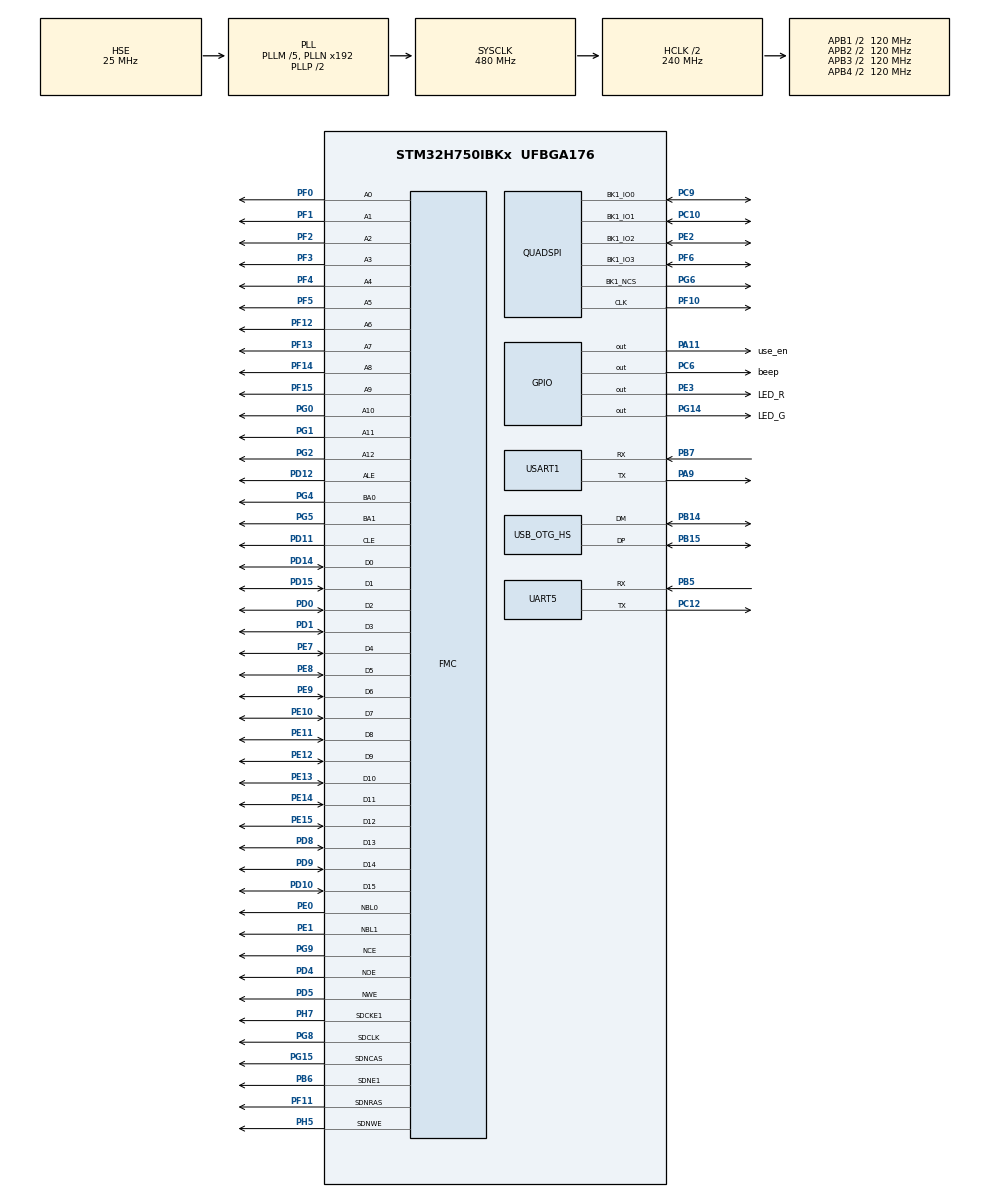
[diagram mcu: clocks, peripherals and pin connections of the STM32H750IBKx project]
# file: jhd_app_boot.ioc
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FMC.AttributeSpaceHiZSetupTime1=5
FMC.AttributeSpaceHoldSetupTime1=2
FMC.AttributeSpaceSetupTime1=2
FMC.AttributeSpaceWaitSetupTime1=6
FMC.CASLatency1=FMC_SDRAM_CAS_LATENCY_3
FMC.ColumnBitsNumber1=FMC_SDRAM_COLUMN_BITS_NUM_9
FMC.CommonSpaceHiZSetupTime1=5
FMC.CommonSpaceHoldSetupTime1=2
FMC.CommonSpaceSetupTime1=2
FMC.CommonSpaceWaitSetupTime1=6
FMC.ECCPageSize1=FMC_NAND_ECC_PAGE_SIZE_512BYTE
FMC.ExitSelfRefreshDelay1=9
FMC.LoadToActiveDelay1=2
FMC.NandBlockNbr1=64
FMC.NandBlockSize1=64
FMC.NandPageSize1=2048
FMC.NandPlaneNbr1=2
FMC.NandPlaneSize1=1024
FMC.NandSpareAreaSize1=64
FMC.RCDDelay1=6
FMC.RPDelay1=3
FMC.RPDelay2=3
FMC.ReadBurst1=FMC_SDRAM_RBURST_ENABLE
FMC.ReadBurst2=FMC_SDRAM_RBURST_ENABLE
FMC.ReadPipeDelay1=FMC_SDRAM_RPIPE_DELAY_1
FMC.ReadPipeDelay2=FMC_SDRAM_RPIPE_DELAY_1
FMC.RowCycleDelay1=6
FMC.RowCycleDelay2=6
FMC.SDClockPeriod1=FMC_SDRAM_CLOCK_PERIOD_2
FMC.SDClockPeriod2=FMC_SDRAM_CLOCK_PERIOD_2
FMC.SelfRefreshTime1=6
FMC.TCLRSetupTime1=3
FMC.WriteRecoveryTime1=3
Mcu.Family=STM32H7
Mcu.Name=STM32H750IBKx
Mcu.Package=UFBGA176
NVIC.OTG_HS_IRQn=true\:5\:0\:true\:false\:true\:false\:true
NVIC.PriorityGroup=NVIC_PRIORITYGROUP_4
PA11.GPIO_Label=use_en
PA11.Signal=GPIO_Output
PA9.Mode=Asynchronous
PA9.Signal=USART1_TX
PB14.GPIO_Speed=GPIO_SPEED_FREQ_HIGH
PB14.Mode=Host_FS
PB14.Signal=USB_OTG_HS_DM
PB15.GPIO_Speed=GPIO_SPEED_FREQ_HIGH
PB15.Mode=Host_FS
PB15.Signal=USB_OTG_HS_DP
PB5.Mode=Asynchronous
PB5.Signal=UART5_RX
PB6.Mode=SdramChipSelect2_1
PB6.Signal=FMC_SDNE1
PB7.Mode=Asynchronous
PB7.Signal=USART1_RX
PC10.Mode=Single Bank 1
PC10.Signal=QUADSPI_BK1_IO1
PC12.Mode=Asynchronous
PC12.Signal=UART5_TX
PC6.GPIO_Label=beep
PC6.GPIO_PuPd=GPIO_PULLDOWN
PC6.Signal=GPIO_Output
PC9.Mode=Single Bank 1
PC9.Signal=QUADSPI_BK1_IO0
PD0.Signal=FMC_D2_DA2
PD1.Signal=FMC_D3_DA3
PD10.Signal=FMC_D15_DA15
PD11.Signal=FMC_A16_CLE
PD12.Signal=FMC_A17_ALE
PD14.Signal=FMC_D0_DA0
PD15.Signal=FMC_D1_DA1
PD4.Signal=FMC_NOE
PD5.Signal=FMC_NWE
PD8.Signal=FMC_D13_DA13
PD9.Signal=FMC_D14_DA14
PE0.Signal=FMC_NBL0
PE1.Signal=FMC_NBL1
PE10.Signal=FMC_D7_DA7
PE11.Signal=FMC_D8_DA8
PE12.Signal=FMC_D9_DA9
PE13.Signal=FMC_D10_DA10
PE14.Signal=FMC_D11_DA11
PE15.Signal=FMC_D12_DA12
PE2.Mode=Single Bank 1
PE2.Signal=QUADSPI_BK1_IO2
PE3.GPIO_Label=LED_R
PE3.GPIO_PuPd=GPIO_PULLUP
PE3.GPIO_Speed=GPIO_SPEED_FREQ_HIGH
PE3.Signal=GPIO_Output
PE7.Signal=FMC_D4_DA4
PE8.Signal=FMC_D5_DA5
PE9.Signal=FMC_D6_DA6
PF0.Signal=FMC_A0
PF1.Signal=FMC_A1
PF10.Mode=Single Bank 1
PF10.Signal=QUADSPI_CLK
PF11.Signal=FMC_SDNRAS
PF12.Signal=FMC_A6
PF13.Signal=FMC_A7
PF14.Signal=FMC_A8
PF15.Signal=FMC_A9
PF2.Signal=FMC_A2
PF3.Signal=FMC_A3
PF4.Signal=FMC_A4
PF5.Signal=FMC_A5
PF6.Mode=Single Bank 1
PF6.Signal=QUADSPI_BK1_IO3
PG0.Signal=FMC_A10
PG1.Signal=FMC_A11
PG14.GPIO_Label=LED_G
PG14.GPIO_PuPd=GPIO_PULLUP
PG14.GPIO_Speed=GPIO_SPEED_FREQ_HIGH
PG14.Signal=GPIO_Output
PG15.Signal=FMC_SDNCAS
PG2.Signal=FMC_A12
PG4.Signal=FMC_A14_BA0
PG5.Signal=FMC_A15_BA1
PG6.Mode=Single Bank 1
PG6.Signal=QUADSPI_BK1_NCS
PG8.Signal=FMC_SDCLK
PG9.Mode=NandChipSelect3_1
PG9.Signal=FMC_NCE
PH0-OSC_IN\ (PH0).Mode=HSE-External-Oscillator
PH0-OSC_IN\ (PH0).Signal=RCC_OSC_IN
PH1-OSC_OUT\ (PH1).Mode=HSE-External-Oscillator
PH1-OSC_OUT\ (PH1).Signal=RCC_OSC_OUT
PH5.Signal=FMC_SDNWE
PH7.Mode=SdramChipSelect2_1
PH7.Signal=FMC_SDCKE1
ProjectManager.HeapSize=0x200
ProjectManager.StackSize=0x400
ProjectManager.TargetToolchain=STM32CubeIDE
QUADSPI.ChipSelectHighTime=QSPI_CS_HIGH_TIME_4_CYCLE
QUADSPI.ClockPrescaler=2
QUADSPI.FifoThreshold=16
QUADSPI.SampleShifting=QSPI_SAMPLE_SHIFTING_HALFCYCLE
RCC.ADCFreq_Value=50390625
RCC.APB1Freq_Value=120000000
RCC.APB2Freq_Value=120000000
RCC.APB3Freq_Value=120000000
RCC.APB4Freq_Value=120000000
RCC.CortexFreq_Value=480000000
RCC.D1PPRE=RCC_APB3_DIV2
RCC.D2PPRE1=RCC_APB1_DIV2
RCC.D2PPRE2=RCC_APB2_DIV2
RCC.D3PPRE=RCC_APB4_DIV2
RCC.DIVM1=5
RCC.DIVN1=192
RCC.DIVQ1=20
RCC.HCLKFreq_Value=240000000
RCC.HPRE=RCC_HCLK_DIV2
RCC.PLL2FRACN=0
RCC.PLL3FRACN=0
RCC.PLLFRACN=0
RCC.SYSCLKFreq_VALUE=480000000
RCC.SYSCLKSource=RCC_SYSCLKSOURCE_PLLCLK
RCC.USBFreq_Value=48000000
SH.FMC_A0.0=FMC_A0,13b-sda1
SH.FMC_A1.0=FMC_A1,13b-sda1
SH.FMC_A10.0=FMC_A10,13b-sda1
SH.FMC_A11.0=FMC_A11,13b-sda1
SH.FMC_A12.0=FMC_A12,13b-sda1
SH.FMC_A14_BA0.0=FMC_BA0,FourSdramBanks1
SH.FMC_A15_BA1.0=FMC_BA1,FourSdramBanks1
SH.FMC_A16_CLE.0=FMC_CLE,8b-dmux1
SH.FMC_A17_ALE.0=FMC_ALE,8b-dmux1
SH.FMC_A2.0=FMC_A2,13b-sda1
SH.FMC_A3.0=FMC_A3,13b-sda1
SH.FMC_A4.0=FMC_A4,13b-sda1
SH.FMC_A5.0=FMC_A5,13b-sda1
SH.FMC_A6.0=FMC_A6,13b-sda1
SH.FMC_A7.0=FMC_A7,13b-sda1
SH.FMC_A8.0=FMC_A8,13b-sda1
SH.FMC_A9.0=FMC_A9,13b-sda1
SH.FMC_D0_DA0.0=FMC_D0,sd-16b-d1
SH.FMC_D0_DA0.1=FMC_D0,8b-dmux1
SH.FMC_D10_DA10.0=FMC_D10,sd-16b-d1
SH.FMC_D11_DA11.0=FMC_D11,sd-16b-d1
SH.FMC_D12_DA12.0=FMC_D12,sd-16b-d1
SH.FMC_D13_DA13.0=FMC_D13,sd-16b-d1
SH.FMC_D14_DA14.0=FMC_D14,sd-16b-d1
SH.FMC_D15_DA15.0=FMC_D15,sd-16b-d1
SH.FMC_D1_DA1.0=FMC_D1,sd-16b-d1
SH.FMC_D1_DA1.1=FMC_D1,8b-dmux1
SH.FMC_D2_DA2.0=FMC_D2,sd-16b-d1
SH.FMC_D2_DA2.1=FMC_D2,8b-dmux1
SH.FMC_D3_DA3.0=FMC_D3,sd-16b-d1
SH.FMC_D3_DA3.1=FMC_D3,8b-dmux1
SH.FMC_D4_DA4.0=FMC_D4,sd-16b-d1
SH.FMC_D4_DA4.1=FMC_D4,8b-dmux1
SH.FMC_D5_DA5.0=FMC_D5,sd-16b-d1
SH.FMC_D5_DA5.1=FMC_D5,8b-dmux1
SH.FMC_D6_DA6.0=FMC_D6,sd-16b-d1
SH.FMC_D6_DA6.1=FMC_D6,8b-dmux1
SH.FMC_D7_DA7.0=FMC_D7,sd-16b-d1
SH.FMC_D7_DA7.1=FMC_D7,8b-dmux1
SH.FMC_D8_DA8.0=FMC_D8,sd-16b-d1
SH.FMC_D9_DA9.0=FMC_D9,sd-16b-d1
SH.FMC_NBL0.0=FMC_NBL0,Sd2ByteEnable1
SH.FMC_NBL1.0=FMC_NBL1,Sd2ByteEnable1
SH.FMC_NOE.0=FMC_NOE,8b-dmux1
SH.FMC_NWE.0=FMC_NWE,8b-dmux1
SH.FMC_SDCLK.0=FMC_SDCLK,13b-sda1
SH.FMC_SDNCAS.0=FMC_SDNCAS,13b-sda1
SH.FMC_SDNRAS.0=FMC_SDNRAS,13b-sda1
SH.FMC_SDNWE.0=FMC_SDNWE,13b-sda1
USART1.VirtualMode-Asynchronous=VM_ASYNC
USB_HOST.BSP.number=1
USB_HOST.USBH_HandleTypeDef-MSC_HS=hUsbHostHS
USB_HOST.VirtualModeHS=Msc
USB_HOST0.BSP.STBoard=false
USB_HOST0.BSP.api=Unknown
USB_HOST0.BSP.i2caddr=0
USB_HOST0.BSP.instance=PA11
USB_HOST0.BSP.ip=GPIO
USB_HOST0.BSP.mode=Output
USB_HOST0.BSP.name=Drive_VBUS_HS
USB_HOST0.BSP.solution=PA11
USB_OTG_HS.VirtualMode-Host_FS=Host_FS
VP_FATFS_VS_USB.Mode=USB
VP_USB_HOST_VS_USB_HOST_MSC_HS.Mode=MSC_HS
board=custom

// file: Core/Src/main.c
/* USER CODE BEGIN Header */
/**
  ******************************************************************************
  * @file           : main.c
  * @brief          : Main program body
  ******************************************************************************
  * @attention
  *
  * <h2><center>&copy; Copyright (c) 2021 STMicroelectronics.
  * All rights reserved.</center></h2>
  *
  * This software component is licensed by ST under Ultimate Liberty license
  * SLA0044, the "License"; You may not use this file except in compliance with
  * the License. You may obtain a copy of the License at:
  *                             www.st.com/SLA0044
  *
  ******************************************************************************
  */
/* USER CODE END Header */
#include "main.h"
#include "fatfs.h"
#include "quadspi.h"
#include "usart.h"
#include "usb_host.h"
#include "gpio.h"
#include "fmc.h"
#include "w25qxx_qspi.h"
/* USER CODE BEGIN Includes */

#include "led.h"
/* USER CODE END Includes */

/* USER CODE BEGIN PTD */
typedef void (*pFunction)(void);
/* USER CODE END PTD */

/* USER CODE BEGIN PD */
#define APPLICATION_ADDRESS  ((uint32_t)0x90000000)
/* USER CODE END PD */

/* USER CODE BEGIN PV */
pFunction JumpToApplication;

/* USER CODE END PV */

void SystemClock_Config(void);
void MX_USB_HOST_Process(void);

int main(void)
{

  /* MCU Configuration--------------------------------------------------------*/

  /* Reset of all peripherals, Initializes the Flash interface and the Systick. */
  HAL_Init();

  /* Configure the system clock */
  SystemClock_Config();

  /* Initialize all configured peripherals */
  MX_GPIO_Init();
  MX_FMC_Init();
  MX_FATFS_Init();
  MX_USB_HOST_Init();
  MX_QUADSPI_Init();
  MX_UART5_Init();
  MX_USART1_UART_Init();
  /* USER CODE BEGIN 2 */
  w25qxx_Init();
  w25qxx_EnterQPI();
  led_init();
  LED_RED;
  HAL_GPIO_TogglePin(GPIOC,GPIO_PIN_6);//蜂鸣器控�????
  HAL_Delay(1);  //延时1MS等待USB稳定

  uint32_t gotoapptime = 0;
  gotoapptime = HAL_GetTick();

  /* USER CODE END 2 */

  /* Infinite loop */
  while (1)
  {
    MX_USB_HOST_Process();

    /* USER CODE BEGIN 3 */
    if((HAL_GetTick() - gotoapptime) > 2800)//u disk and sd disk use 500ms can mount 3 secound can just sub
	{
		break;
	}
  }

  HAL_GPIO_WritePin(GPIOA , GPIO_PIN_11 , GPIO_PIN_RESET); //关闭usb电源
  HAL_NVIC_DisableIRQ(OTG_HS_IRQn);//关闭�????有用到的外设
   __HAL_RCC_USB_OTG_HS_CLK_DISABLE();
	__set_PRIMASK(1);
	SysTick->CTRL = 0;
	SysTick->LOAD = 0;
	SysTick->VAL = 0;
	/*clear all interrupt , set 1 to clear*/
	for (uint8_t i = 0; i < 8; i++)
	{
		NVIC->ICER[i]=0xFFFFFFFF;
		NVIC->ICPR[i]=0xFFFFFFFF;
	}
	__set_PRIMASK(0);
	{
		JumpToApplication = (pFunction) (*( __IO unsigned int*) (APPLICATION_ADDRESS + 4));
		__set_MSP(*( uint32_t*) APPLICATION_ADDRESS);
		__set_CONTROL(0);
		JumpToApplication();
	}
  /* USER CODE END 3 */
}

void SystemClock_Config(void)
{
  RCC_OscInitTypeDef RCC_OscInitStruct = {0};
  RCC_ClkInitTypeDef RCC_ClkInitStruct = {0};
  RCC_PeriphCLKInitTypeDef PeriphClkInitStruct = {0};

  /** Supply configuration update enable
  */
  HAL_PWREx_ConfigSupply(PWR_LDO_SUPPLY);
  /** Configure the main internal regulator output voltage
  */
  __HAL_PWR_VOLTAGESCALING_CONFIG(PWR_REGULATOR_VOLTAGE_SCALE0);

  while(!__HAL_PWR_GET_FLAG(PWR_FLAG_VOSRDY)) {}
  /** Initializes the RCC Oscillators according to the specified parameters
  * in the RCC_OscInitTypeDef structure.
  */
  RCC_OscInitStruct.OscillatorType = RCC_OSCILLATORTYPE_HSE;
  RCC_OscInitStruct.HSEState = RCC_HSE_ON;
  RCC_OscInitStruct.PLL.PLLState = RCC_PLL_ON;
  RCC_OscInitStruct.PLL.PLLSource = RCC_PLLSOURCE_HSE;
  RCC_OscInitStruct.PLL.PLLM = 5;
  RCC_OscInitStruct.PLL.PLLN = 192;
  RCC_OscInitStruct.PLL.PLLP = 2;
  RCC_OscInitStruct.PLL.PLLQ = 20;
  RCC_OscInitStruct.PLL.PLLR = 2;
  RCC_OscInitStruct.PLL.PLLRGE = RCC_PLL1VCIRANGE_2;
  RCC_OscInitStruct.PLL.PLLVCOSEL = RCC_PLL1VCOWIDE;
  RCC_OscInitStruct.PLL.PLLFRACN = 0;
  if (HAL_RCC_OscConfig(&RCC_OscInitStruct) != HAL_OK)
  {
    Error_Handler();
  }
  /** Initializes the CPU, AHB and APB buses clocks
  */
  RCC_ClkInitStruct.ClockType = RCC_CLOCKTYPE_HCLK|RCC_CLOCKTYPE_SYSCLK
                              |RCC_CLOCKTYPE_PCLK1|RCC_CLOCKTYPE_PCLK2
                              |RCC_CLOCKTYPE_D3PCLK1|RCC_CLOCKTYPE_D1PCLK1;
  RCC_ClkInitStruct.SYSCLKSource = RCC_SYSCLKSOURCE_PLLCLK;
  RCC_ClkInitStruct.SYSCLKDivider = RCC_SYSCLK_DIV1;
  RCC_ClkInitStruct.AHBCLKDivider = RCC_HCLK_DIV2;
  RCC_ClkInitStruct.APB3CLKDivider = RCC_APB3_DIV2;
  RCC_ClkInitStruct.APB1CLKDivider = RCC_APB1_DIV2;
  RCC_ClkInitStruct.APB2CLKDivider = RCC_APB2_DIV2;
  RCC_ClkInitStruct.APB4CLKDivider = RCC_APB4_DIV2;

  if (HAL_RCC_ClockConfig(&RCC_ClkInitStruct, FLASH_LATENCY_4) != HAL_OK)
  {
    Error_Handler();
  }
  PeriphClkInitStruct.PeriphClockSelection = RCC_PERIPHCLK_USART1|RCC_PERIPHCLK_UART5
                              |RCC_PERIPHCLK_USB|RCC_PERIPHCLK_QSPI
                              |RCC_PERIPHCLK_FMC;
  PeriphClkInitStruct.FmcClockSelection = RCC_FMCCLKSOURCE_D1HCLK;
  PeriphClkInitStruct.QspiClockSelection = RCC_QSPICLKSOURCE_D1HCLK;
  PeriphClkInitStruct.Usart234578ClockSelection = RCC_USART234578CLKSOURCE_D2PCLK1;
  PeriphClkInitStruct.Usart16ClockSelection = RCC_USART16CLKSOURCE_D2PCLK2;
  PeriphClkInitStruct.UsbClockSelection = RCC_USBCLKSOURCE_PLL;
  if (HAL_RCCEx_PeriphCLKConfig(&PeriphClkInitStruct) != HAL_OK)
  {
    Error_Handler();
  }
  /** Enable USB Voltage detector
  */
  HAL_PWREx_EnableUSBVoltageDetector();
}

void Error_Handler(void)
{
  __disable_irq();
  while (1)
  {
  }
}

/************************ (C) COPYRIGHT STMicroelectronics *****END OF FILE****/
